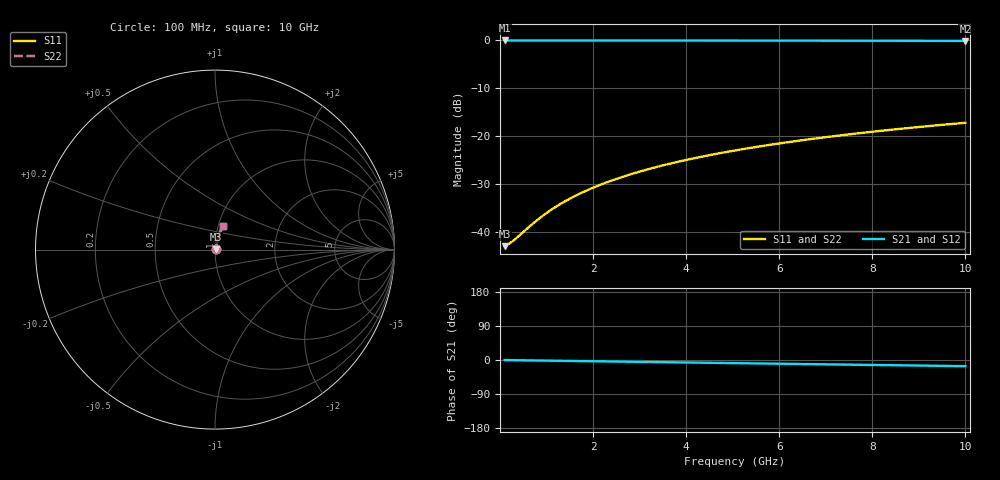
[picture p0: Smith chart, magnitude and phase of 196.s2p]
# Hz S RI R 50.00
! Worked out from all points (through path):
!   100 points, 100 MHz to 10 GHz, reference 50 ohm
!   highest |S21| = -0.06 dB at 100 MHz (marker M1); lowest = -0.2 dB at 10 GHz (marker M2)
!   group delay of S21, straight-line fit = 4.52 ps
!   lowest |S11| = -43.0 dB at 100 MHz (marker M3), VSWR 1.01, Z = 50.7 + j0.14 ohm
!   |S11| at or under -10 dB: start of sweep to end of sweep
!   |S22| runs from -43.0 to -17.2 dB; largest |S21 - S12| = 0
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1e8  0.00696 0.00138  0.993 -0.00283  0.993 -0.00283  0.00696 0.00138
2e8  0.00702 0.00276  0.993 -0.00567  0.993 -0.00567  0.00702 0.00276
3e8  0.00707 0.00414  0.9929 -0.0085  0.9929 -0.0085  0.00707 0.00414
6e8  0.00725 0.00827  0.9927 -0.017  0.9927 -0.017  0.00725 0.00827
8e8  0.00739 0.011  0.9925 -0.0227  0.9925 -0.0227  0.00739 0.011
9e8  0.00747 0.0124  0.9924 -0.0255  0.9924 -0.0255  0.00747 0.0124
1.1e9  0.00766 0.0152  0.9922 -0.0312  0.9922 -0.0312  0.00766 0.0152
1.4e9  0.00799 0.0193  0.9918 -0.0396  0.9918 -0.0396  0.00799 0.0193
1.6e9  0.00824 0.022  0.9915 -0.0453  0.9915 -0.0453  0.00824 0.022
1.8e9  0.00853 0.0248  0.9911 -0.051  0.9911 -0.051  0.00853 0.0248
2.1e9  0.00902 0.0289  0.9905 -0.0594  0.9905 -0.0594  0.00902 0.0289
2.5e9  0.00977 0.0343  0.9895 -0.0707  0.9895 -0.0707  0.00977 0.0343
2.9e9  0.0106 0.0398  0.9884 -0.082  0.9884 -0.082  0.0106 0.0398
3.4e9  0.0119 0.0465  0.9868 -0.096  0.9868 -0.096  0.0119 0.0465
3.8e9  0.0131 0.0519  0.9853 -0.1072  0.9853 -0.1072  0.0131 0.0519
4.2e9  0.0143 0.0572  0.9837 -0.1184  0.9837 -0.1184  0.0143 0.0572
5.1e9  0.0176 0.0692  0.9795 -0.1434  0.9795 -0.1434  0.0176 0.0692
5.9e9  0.0211 0.0796  0.9751 -0.1655  0.9751 -0.1655  0.0211 0.0796
6.7e9  0.025 0.0898  0.9701 -0.1874  0.9701 -0.1874  0.025 0.0898
7.5e9  0.0293 0.0998  0.9646 -0.2091  0.9646 -0.2091  0.0293 0.0998
8.4e9  0.0347 0.1109  0.9576 -0.2333  0.9576 -0.2333  0.0347 0.1109
1e10  0.0457 0.1296  0.9434 -0.2755  0.9434 -0.2755  0.0457 0.1296
